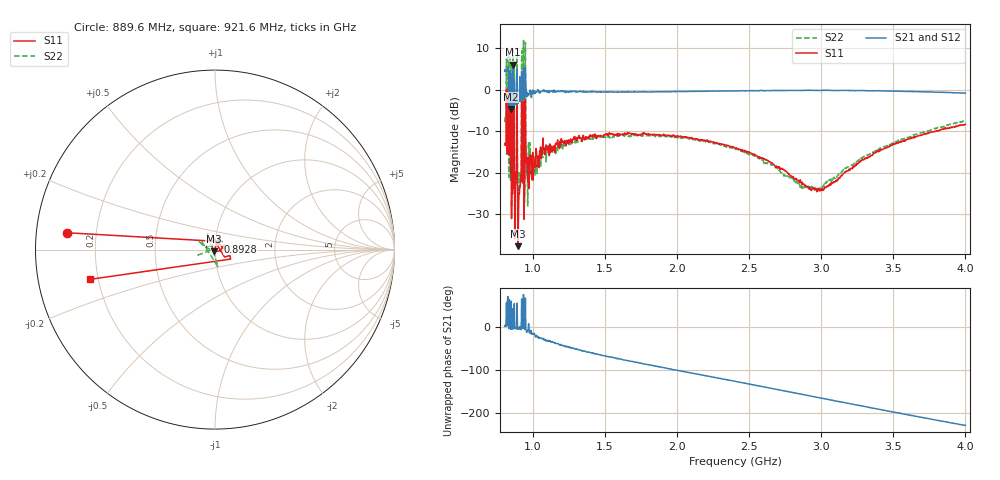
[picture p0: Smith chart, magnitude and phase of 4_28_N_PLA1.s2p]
!Keysight Technologies N9950B: A.12.38
!Date: Friday, 28 April 2023 16:35:38
!Timezone: (UTC-06:00) Central Time (US & Canada)
!Model: N9950B
!Serial: MY61131330
!GPS Latitude:
!GPS Longitude:
!GPS TimeStamp: 0001-01-01 00:00:00Z
!GPS Seconds Since Last Read: 0
!CHECKSUM:1501518841
!Correction: S11(ON U)S21(ON U)S12(ON U)S22(ON U)
!S2P File: Measurements:S11,S21,S12,S22:
# Hz S DB R 50
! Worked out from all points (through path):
!   1000 points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, 803.2 MHz to 4 GHz, reference 50 ohm
!   highest |S21| = 6.00 dB at 860.8 MHz (marker M1); lowest = -4.6 dB at 844.8 MHz (marker M2)
!   lowest |S11| = -37.8 dB at 896 MHz (marker M3), VSWR 1.03, Z = 49.2 - j1 ohm
!   |S11| at or under -10 dB: 871 MHz to 888.2 MHz (17.26 MHz wide, 1.96 % of centre); 890.7 MHz to 920.3 MHz (29.57 MHz wide, 3.27 % of centre); 949.4 MHz to 3.794 GHz (2.845 GHz wide, 120 % of centre)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
!   |S22| runs from -33.7 to 11.9 dB; largest |S21 - S12| = 3.1
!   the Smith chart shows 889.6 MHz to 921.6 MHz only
!   S11 on the Smith chart (normalised r, x): 889.6 MHz: 0.09, +0.06; 892.8 MHz: 1.03, +0.09; 921.6 MHz: 0.17, -0.11
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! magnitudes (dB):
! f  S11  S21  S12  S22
! 803.2 MHz  -13.3  4.4  4.4  -7.9
! 825.6 MHz  -0.4  4.9  5.8  8.4
! 844.8 MHz  -18.5  -4.6  -4.6  -21.9
! 854.4 MHz  -19.2  -3.3  -3.3  -22.3
! 860.8 MHz  -0.4  6.0  6.6  9.5
! 867.2 MHz  -23.9  -3.9  -3.9  -23.4
! 876.8 MHz  -25.0  -3.6  -3.6  -24.8
! 889.6 MHz  -1.6  4.8  5.4  8.2
! 892.8 MHz  -26.3  -3.5  -3.5  -19.8
! 896 MHz  -37.8  -3.3  -3.4  -33.7
! 905.6 MHz  -25.3  -2.5  -2.5  -21.3
! 912 MHz  -23.4  -2.9  -2.9  -22.9
! 921.6 MHz  -2.9  4.3  5.6  9.4
! 937.6 MHz  -31.3  -2.2  -2.2  -27.5
! 953.6 MHz  -17.1  -0.3  -0.2  -19.7
! 972.8 MHz  -23.8  -1.2  -1.2  -22.8
! 1.338 GHz  -11.7  -0.5  -0.6  -12.0
! 1.869 GHz  -11.0  -0.5  -0.5  -11.2
! 2.403 GHz  -14.2  -0.3  -0.3  -14.4
! 2.934 GHz  -24.1  -0.2  -0.2  -23.3
! 3.469 GHz  -13.8  -0.4  -0.4  -13.3
! 4 GHz  -8.3  -0.8  -0.8  -7.5
